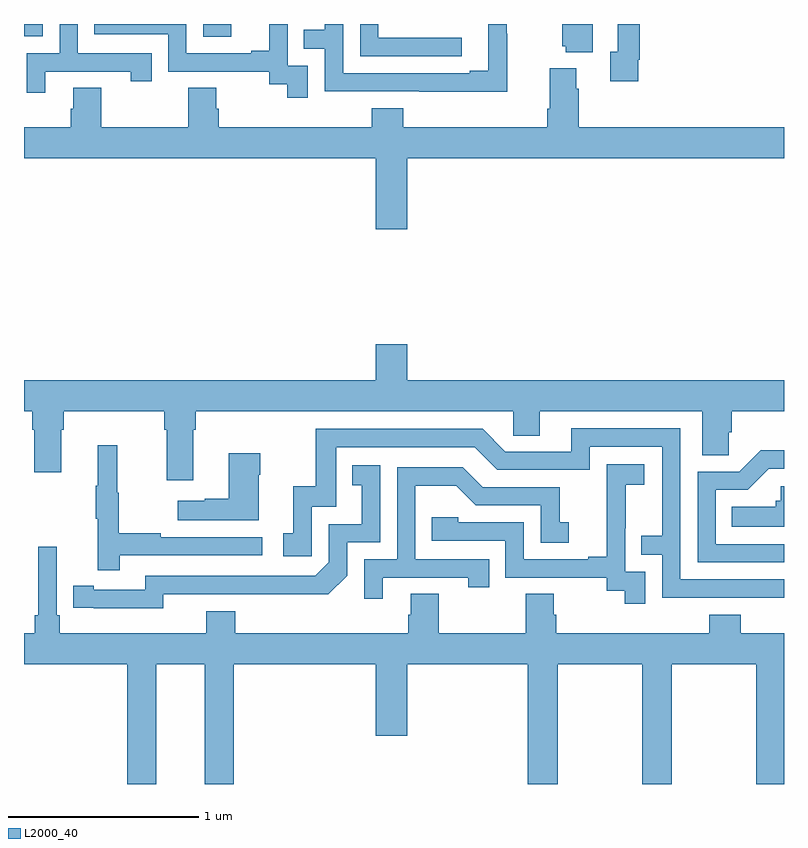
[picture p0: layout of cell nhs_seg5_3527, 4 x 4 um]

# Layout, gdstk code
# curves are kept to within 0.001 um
import gdstk
lib = gdstk.Library(unit=1e-6, precision=1e-09)
def R(c, l, rs):  # rectangles x0, y0, x1, y1
    for r in rs: c.add(gdstk.rectangle(r[:2], r[2:], *l))
def P(c, l, *ps):  # polygons
    for p in ps: c.add(gdstk.Polygon(p, *l))
L2000_40 = (2000, 40)

nhs_seg5_3527 = lib.new_cell('nhs_seg5_3527')
R(nhs_seg5_3527, L2000_40, [(319.944,858.732,320.092,858.799), (319,858.735,319.098,858.799)])
P(nhs_seg5_3527, L2000_40, [(321.543,858.749),(321.54,858.749),(321.54,858.799),(321.444,858.799),(321.444,858.553),(321.347,858.553),(321.347,858.54),(320.679,858.54),(320.679,858.799),(320.583,858.799),(320.583,858.77),(320.473,858.77),(320.473,858.669),(320.583,858.669),(320.583,858.444),(321.079,858.444),(321.079,858.443),(321.543,858.443)],
  [(320.493,858.579),(320.388,858.579),(320.388,858.799),(320.291,858.799),(320.291,858.658),(320.195,858.658),(320.195,858.645),(319.854,858.645),(319.854,858.799),(319.369,858.799),(319.369,858.744),(319.758,858.744),(319.758,858.549),(320.292,858.549),(320.292,858.481),(320.385,858.481),(320.385,858.411),(320.493,858.411)],
  [(319.111,858.549),(319.562,858.549),(319.562,858.498),(319.673,858.498),(319.673,858.645),(319.284,858.645),(319.284,858.799),(319.188,858.799),(319.188,858.645),(319.014,858.645),(319.014,858.438),(319.111,858.438)],
  [(321.304,858.726),(320.865,858.726),(320.865,858.799),(320.769,858.799),(320.769,858.63),(321.304,858.63)],
  [(322.234,858.61),(322.241,858.61),(322.241,858.799),(322.125,858.799),(322.125,858.654),(322.085,858.654),(322.085,858.498),(322.234,858.498)],
  [(321.994,858.799),(321.833,858.799),(321.833,858.681),(321.851,858.681),(321.851,858.65),(321.994,858.65)],
  [(321.016,858.092),(323,858.092),(323,858.256),(321.92,858.256),(321.92,858.458),(321.907,858.458),(321.907,858.565),(321.767,858.565),(321.767,858.352),(321.755,858.352),(321.755,858.256),(320.996,858.256),(320.996,858.355),(320.831,858.355),(320.831,858.256),(320.024,858.256),(320.024,858.354),(320.011,858.354),(320.011,858.464),(319.864,858.464),(319.864,858.256),(319.407,858.256),(319.407,858.464),(319.259,858.464),(319.259,858.354),(319.247,858.354),(319.247,858.256),(319,858.256),(319,858.092),(320.852,858.092),(320.852,857.718),(321.016,857.718)],
  [(319.891,856.664),(319.904,856.664),(319.904,856.76),(321.576,856.76),(321.576,856.633),(321.715,856.633),(321.715,856.76),(322.571,856.76),(322.571,856.528),(322.71,856.528),(322.71,856.651),(322.724,856.651),(322.724,856.76),(323,856.76),(323,856.924),(321.016,856.924),(321.016,857.113),(320.852,857.113),(320.852,856.924),(319,856.924),(319,856.76),(319.043,856.76),(319.043,856.664),(319.055,856.664),(319.055,856.44),(319.195,856.44),(319.195,856.664),(319.208,856.664),(319.208,856.76),(319.739,856.76),(319.739,856.664),(319.751,856.664),(319.751,856.398),(319.891,856.398)],
  [(323,855.876),(322.455,855.876),(322.455,856.671),(321.881,856.671),(321.881,856.548),(321.534,856.548),(321.414,856.668),(320.535,856.668),(320.535,856.366),(320.417,856.366),(320.417,856.119),(320.364,856.119),(320.364,855.999),(320.514,855.999),(320.514,856.257),(320.643,856.257),(320.643,856.572),(321.372,856.572),(321.492,856.452),(321.978,856.452),(321.978,856.575),(322.359,856.575),(322.359,856.106),(322.249,856.106),(322.249,856.005),(322.359,856.005),(322.359,855.78),(323,855.779)],
  [(319.505,856.002),(320.254,856.002),(320.254,856.098),(319.721,856.098),(319.721,856.118),(319.498,856.118),(319.498,856.332),(319.49,856.332),(319.49,856.582),(319.388,856.582),(319.388,856.369),(319.377,856.369),(319.377,856.195),(319.388,856.195),(319.388,855.924),(319.505,855.924)],
  [(323,856.062),(322.641,856.062),(322.641,856.347),(322.81,856.347),(322.921,856.458),(323,856.458),(323,856.556),(322.877,856.556),(322.764,856.443),(322.545,856.443),(322.545,855.966),(323,855.966)],
  [(320.236,856.427),(320.244,856.427),(320.244,856.54),(320.078,856.54),(320.078,856.301),(319.952,856.301),(319.952,856.291),(319.809,856.291),(319.809,856.187),(320.236,856.187)],
  [(322.269,855.915),(322.164,855.915),(322.164,856.145),(322.166,856.145),(322.166,856.373),(322.264,856.373),(322.264,856.483),(322.066,856.483),(322.066,856.277),(322.067,856.277),(322.067,855.994),(321.971,855.994),(321.971,855.981),(321.63,855.981),(321.63,856.176),(321.285,856.176),(321.285,856.203),(321.145,856.203),(321.145,856.08),(321.534,856.08),(321.534,855.885),(322.068,855.885),(322.068,855.817),(322.161,855.817),(322.161,855.747),(322.269,855.747)],
  [(319.734,855.798),(320.602,855.797),(320.7,855.894),(320.7,856.071),(320.874,856.071),(320.874,856.477),(320.728,856.477),(320.728,856.371),(320.777,856.371),(320.777,856.167),(320.604,856.167),(320.604,855.966),(320.532,855.894),(319.638,855.894),(319.638,855.822),(319.366,855.822),(319.366,855.842),(319.258,855.842),(319.258,855.726),(319.734,855.725)],
  [(320.887,855.885),(321.338,855.885),(321.338,855.834),(321.449,855.834),(321.449,855.981),(321.06,855.981),(321.06,856.37),(321.274,856.37),(321.378,856.266),(321.72,856.266),(321.72,856.068),(321.868,856.068),(321.868,856.177),(321.819,856.177),(321.819,856.362),(321.415,856.362),(321.31,856.467),(320.964,856.467),(320.964,855.981),(320.79,855.981),(320.79,855.774),(320.887,855.774)],
  [(323,856.366),(322.983,856.366),(322.983,856.29),(322.957,856.29),(322.957,856.258),(322.726,856.258),(322.726,856.154),(323,856.154)],
  [(319.696,855.428),(319.952,855.428),(319.952,854.799),(320.105,854.799),(320.105,855.428),(320.852,855.428),(320.852,855.054),(321.016,855.054),(321.016,855.428),(321.65,855.428),(321.65,854.799),(321.81,854.799),(321.81,855.428),(322.255,855.428),(322.255,854.799),(322.41,854.799),(322.41,855.428),(322.855,855.428),(322.855,854.799),(323,854.799),(323,855.592),(322.772,855.592),(322.772,855.691),(322.607,855.691),(322.607,855.592),(321.8,855.592),(321.8,855.69),(321.787,855.69),(321.787,855.8),(321.64,855.8),(321.64,855.592),(321.183,855.592),(321.183,855.8),(321.035,855.8),(321.035,855.69),(321.023,855.69),(321.023,855.592),(320.111,855.592),(320.111,855.709),(319.958,855.709),(319.958,855.592),(319.187,855.592),(319.187,855.688),(319.173,855.688),(319.173,856.048),(319.076,856.048),(319.076,855.688),(319.057,855.688),(319.057,855.592),(319,855.592),(319,855.428),(319.544,855.428),(319.544,854.799),(319.696,854.799)])

lib.write_gds('nhs_seg5_3527.gds')
